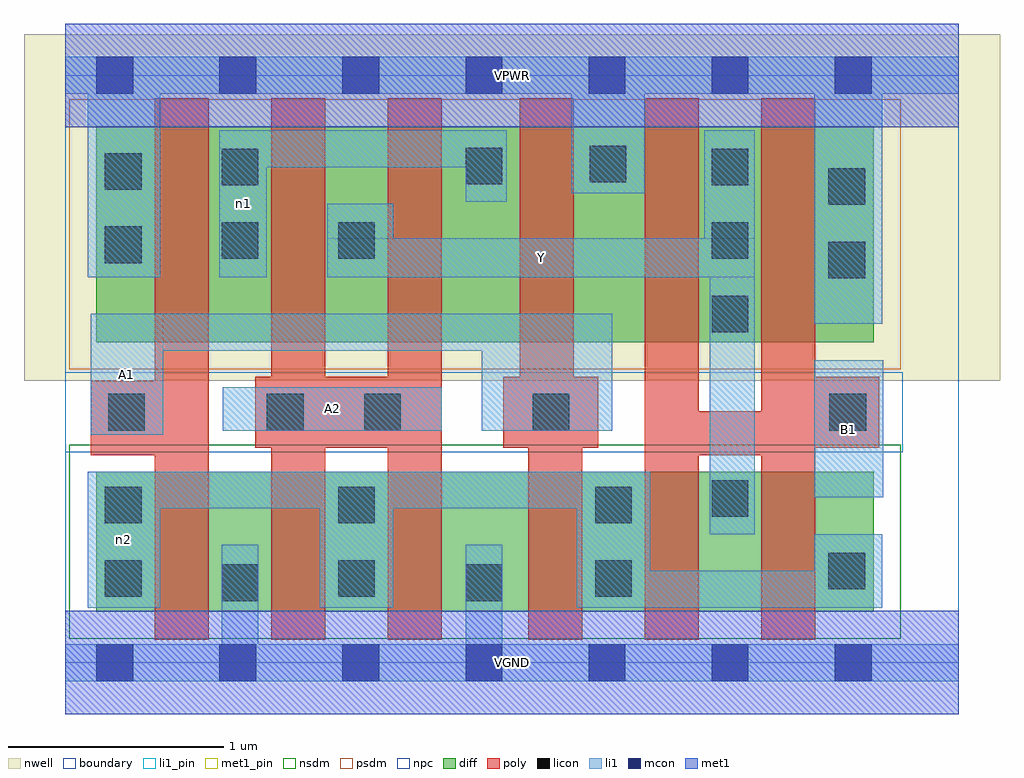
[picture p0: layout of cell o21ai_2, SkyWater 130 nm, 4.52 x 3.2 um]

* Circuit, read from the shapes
.subckt o21ai_2 A1 A2 B1 VGND VPWR Y n1 n2
XM1 VGND A1 n2 VSUBS sky130_fd_pr__nfet_01v8 w=0.65 l=0.25 m=2
XM2 n2 A2 VGND VSUBS sky130_fd_pr__nfet_01v8 w=0.65 l=0.25 m=2
XM3 Y B1 n2 VSUBS sky130_fd_pr__nfet_01v8 w=0.65 l=0.25 m=2
XM4 n1 A1 VPWR n3 sky130_fd_pr__pfet_01v8 w=1 l=0.25 m=2
XM5 Y A2 n1 n3 sky130_fd_pr__pfet_01v8 w=1 l=0.25 m=2
XM6 Y B1 VPWR n3 sky130_fd_pr__pfet_01v8 w=1 l=0.25 m=2
.ends

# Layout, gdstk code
import gdstk
lib = gdstk.Library(unit=1e-6, precision=1e-09)
def R(c, l, rs):  # rectangles x0, y0, x1, y1
    for r in rs: c.add(gdstk.rectangle(r[:2], r[2:], *l))
def A(c, l, x, y, w, h, nx, ny, dx, dy):  # array of equal rectangles
    R(c, l, [(x+i*dx, y+j*dy, x+i*dx+w, y+j*dy+h) for i in range(nx) for j in range(ny)])
nwell = (64, 20)
diff = (65, 20)
poly = (66, 20)
licon = (66, 44)
li1_pin = (67, 16)
li1 = (67, 20)
mcon = (67, 44)
met1_pin = (68, 16)
met1 = (68, 20)
nsdm = (93, 44)
psdm = (94, 20)
npc = (95, 20)
boundary = (235, 4)

o21ai_2 = lib.new_cell('o21ai_2')
R(o21ai_2, nwell, [(-0.19,1.305,4.33,2.91), (0,1.305,4.14,2.91)])
R(o21ai_2, diff, [(0.145,0.235,3.745,0.885), (0.145,1.485,3.745,2.485)])
A(o21ai_2, poly, 0.415, 0.105, 0.25, 2.51, 3, 1, 0.54, 0)
R(o21ai_2, poly, [(2.145,0.105,2.395,1.325), (2.685,0.105,2.935,2.615), (3.225,0.105,3.475,2.615), (0.12,0.96,0.665,1.305), (2.685,0.96,3.475,1.165), (0.88,0.995,1.745,1.325), (2.03,0.995,2.47,1.325), (2.105,0.995,2.355,2.615), (3.225,0.995,3.77,1.325)])
A(o21ai_2, licon, 2.995, 1.53, 0.17, 0.17, 1, 3, 0, 0.34)
R(o21ai_2, licon, [(0.725,0.285,0.895,0.455), (1.855,0.285,2.025,0.455), (0.185,0.305,0.355,0.475), (1.265,0.305,1.435,0.475), (2.455,0.305,2.625,0.475), (3.535,0.34,3.705,0.51), (0.185,0.645,0.355,0.815), (1.265,0.645,1.435,0.815), (2.455,0.645,2.625,0.815), (2.995,0.675,3.165,0.845), (0.2,1.075,0.37,1.245), (0.935,1.075,1.105,1.245), (1.385,1.075,1.555,1.245), (2.165,1.075,2.335,1.245), (3.54,1.075,3.71,1.245), (3.535,1.78,3.705,1.95), (0.185,1.85,0.355,2.02), (0.725,1.87,0.895,2.04), (1.265,1.87,1.435,2.04), (3.535,2.12,3.705,2.29), (0.185,2.19,0.355,2.36), (0.725,2.21,0.895,2.38), (1.855,2.215,2.025,2.385), (2.43,2.225,2.6,2.395)])
R(o21ai_2, li1_pin, [(3.47,0.765,3.79,1.4), (0.12,1.055,0.455,1.615), (0.73,1.075,1.745,1.275), (1.215,1.785,3.195,1.965)])
R(o21ai_2, li1, [(0,-0.085,4.14,0.085), (0.725,-0.085,0.895,0.545), (1.855,-0.085,2.025,0.545), (0.105,0.255,0.44,0.885), (1.18,0.255,1.52,0.885), (2.37,0.255,2.71,0.885), (2.37,0.255,3.785,0.425), (3.47,0.255,3.785,0.595), (2.985,0.595,3.195,2.465), (0.105,0.715,2.71,0.885), (3.47,0.765,3.79,1.4), (0.12,1.055,0.455,1.615), (0.73,1.075,1.745,1.275), (1.93,1.075,2.535,1.615), (0.12,1.445,2.535,1.615), (3.47,1.57,3.785,2.805), (0.105,1.785,0.44,2.805), (0.715,1.785,0.935,2.465), (1.215,1.785,3.195,1.965), (1.215,1.785,1.52,2.125), (2.96,1.785,3.195,2.465), (1.855,2.135,2.045,2.465), (2.345,2.175,2.685,2.805), (0.715,2.295,2.045,2.465), (0,2.635,4.14,2.805)])
A(o21ai_2, mcon, 0.145, -0.085, 0.17, 0.17, 7, 2, 0.57, 2.72)
R(o21ai_2, met1_pin, [(0,-0.24,4.14,0.24), (0,2.48,4.14,2.96)])
R(o21ai_2, met1, [(0,-0.24,4.14,0.24), (0,2.48,4.14,2.96)])
R(o21ai_2, nsdm, [(0.02,0.11,3.87,1.01)])
R(o21ai_2, psdm, [(0.02,1.36,3.87,2.61)])
R(o21ai_2, npc, [(0,0.975,3.88,1.345)])
R(o21ai_2, boundary, [(0,0,4.14,2.72)])
o21ai_2.add(gdstk.Label('A1', (0.287,1.335), layer=67, texttype=5))
o21ai_2.add(gdstk.Label('A2', (1.237,1.175), layer=67, texttype=5))
o21ai_2.add(gdstk.Label('B1', (3.63,1.082), layer=67, texttype=5))
o21ai_2.add(gdstk.Label('Y', (2.205,1.875), layer=67, texttype=5))
o21ai_2.add(gdstk.Label('n2', (0.272,0.57), layer=67, texttype=5))
o21ai_2.add(gdstk.Label('n1', (0.825,2.125), layer=67, texttype=5))
o21ai_2.add(gdstk.Label('VPWR', (2.07,2.72), layer=68, texttype=5))
o21ai_2.add(gdstk.Label('VGND', (2.07,0), layer=68, texttype=5))
o21ai_2.add(gdstk.Label('A1', (0.287,1.335), layer=67, texttype=16))
o21ai_2.add(gdstk.Label('A2', (1.237,1.175), layer=67, texttype=16))
o21ai_2.add(gdstk.Label('B1', (3.63,1.082), layer=67, texttype=16))
o21ai_2.add(gdstk.Label('Y', (2.205,1.875), layer=67, texttype=16))
o21ai_2.add(gdstk.Label('VPWR', (2.07,2.72), layer=68, texttype=16))
o21ai_2.add(gdstk.Label('VGND', (2.07,0), layer=68, texttype=16))

lib.write_gds('o21ai_2.gds')
